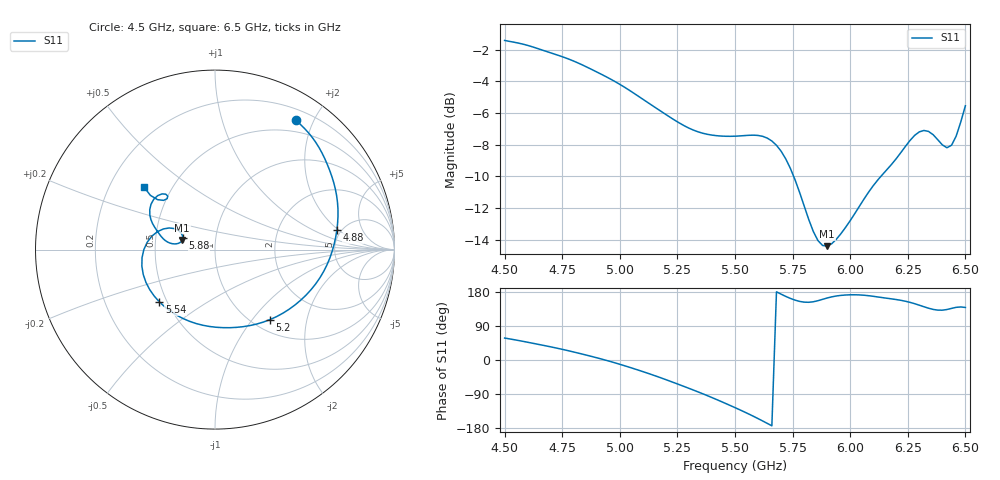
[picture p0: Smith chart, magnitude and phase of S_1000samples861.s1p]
! TOUCHSTONE file generated by CST MICROWAVE STUDIO
! Date and time: Sat Oct 29 15:20:22 2022
! Project name: L.cst
! Parameters = {Di=1.27; Epsilon_r=1.56; InnerDiameter=1.27; Length=2; Lf=10; Lg=60; OuterConductorThickness=0.2921; OuterDiameter=3.6; Wf=3; Wp=41.2; de=1.5; df=6.8; g=0.8; gx=1.00649; gy=0.444503; h=2.34; hf=1.524; px=9.4379; py=10.5303; w=9.7; wx=8.43141; wy=10.0858}
! Header version: 2018
! Port assignment regex: !\s*Touchstone port\s*([0-9]+)\s*=\s*(CST MWS port|CST DS port)\s*([0-9]+|Zmin|Zmax)\s*\(\"(.*)\"\)(\s*mode\s*([0-9]+))?.*
! Touchstone port assignment:
! Touchstone port 1 = CST MWS port 1 ("")
# GHz S DB R 50
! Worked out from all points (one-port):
!   101 points, 4.5 GHz to 6.5 GHz, reference 50 ohm
!   lowest |S11| = -14.4 dB at 5.9 GHz (marker M1), VSWR 1.47, Z = 34.4 + j3.83 ohm
!   |S11| at or under -10 dB: 5.755 GHz to 6.133 GHz (378.8 MHz wide, 6.37 % of centre)
!   S11 on the Smith chart (normalised r, x): 4.5 GHz: 0.34, +1.76; 4.88 GHz: 4.60, +1.88; 5.2 GHz: 1.19, -1.23; 5.54 GHz: 0.45, -0.32; 5.88 GHz: 0.69, +0.09; 6.5 GHz: 0.35, +0.34
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4.5  -1.41 57.9
4.62  -1.81 44.4
4.76  -2.49 26.8
4.88  -3.26 9.0
5  -4.18 -11.3
5.1  -5.13 -30.6
5.2  -6.09 -51.9
5.26  -6.64 -65.5
5.38  -7.34 -94.1
5.44  -7.45 -109.6
5.5  -7.46 -125.7
5.54  -7.42 -136.8
5.6  -7.41 -154.6
5.66  -7.77 -173.7
5.72  -8.89 167.9
5.76  -10.19 158.1
5.82  -12.72 152.3
5.88  -14.37 160.0
5.9  -14.41 163.6
6  -12.80 172.1
6.14  -9.89 164.6
6.26  -7.72 152.1
6.3  -7.19 144.6
6.34  -7.16 136.7
6.4  -8.01 131.4
6.44  -8.03 136.2
6.46  -7.46 139.0
6.5  -5.54 138.6
